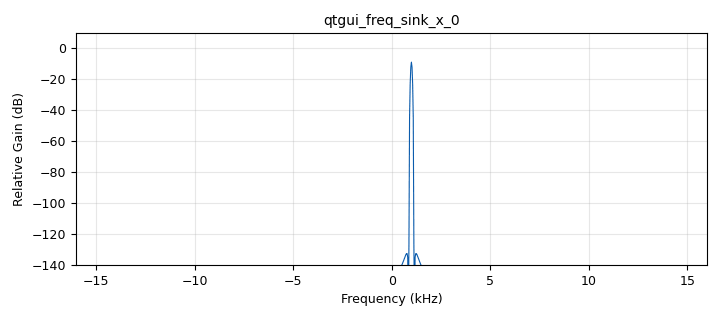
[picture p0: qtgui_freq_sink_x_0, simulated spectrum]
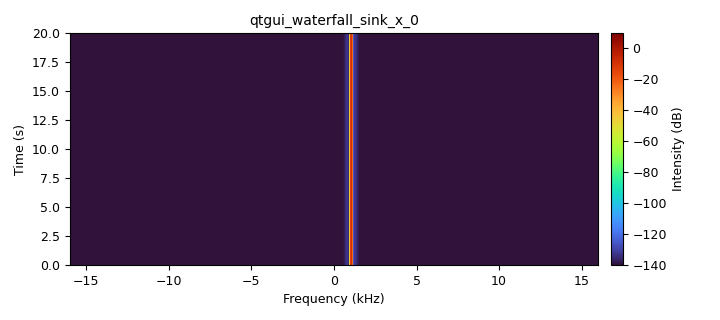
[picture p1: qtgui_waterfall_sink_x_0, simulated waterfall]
options:
  parameters:
    category: Custom
    generate_options: qt_gui
    id: test_qtgui_msg
    output_language: python
  states: {}

blocks:
- name: samp_rate
  id: variable
  parameters:
    value: '32000'
  states: {}
- name: analog_sig_source_x_0
  id: analog_sig_source_x
  parameters:
    amp: '1'
    freq: '1000'
    offset: '0'
    phase: '0'
    samp_rate: samp_rate
    type: complex
    waveform: analog.GR_COS_WAVE
  states: {}
- name: blocks_message_debug_0
  id: blocks_message_debug
  parameters: {}
  states: {}
- name: qtgui_edit_box_msg_0
  id: qtgui_edit_box_msg
  parameters:
    gui_hint: 0,0,1,1
    key: freq
    label: Frequency
    type: float
  states: {}
- name: qtgui_edit_box_msg_0_0
  id: qtgui_edit_box_msg
  parameters:
    gui_hint: 3,1,1,1
    is_pair: 'False'
    is_static: 'False'
    key: vec
    type: int_vec
    value: '3'
  states: {state: disabled}
- name: qtgui_edit_box_msg_0_0_0
  id: qtgui_edit_box_msg
  parameters:
    gui_hint: 3,0,1,1
    is_pair: 'False'
    is_static: 'False'
    key: vec
    label: '"To Message Debug"'
    type: int_vec
    value: '5'
  states: {state: disabled}
- name: qtgui_freq_sink_x_0
  id: qtgui_freq_sink_x
  parameters:
    bw: samp_rate
    fc: '0'
    fftsize: '1024'
    gui_hint: 1,0,1,2
    legend: 'False'
    type: complex
    wintype: firdes.WIN_BLACKMAN_hARRIS
  states: {}
- name: qtgui_waterfall_sink_x_0
  id: qtgui_waterfall_sink_x
  parameters:
    bw: samp_rate
    fc: '0'
    fftsize: '1024'
    gui_hint: 2,0,1,2
    type: complex
    wintype: firdes.WIN_BLACKMAN_hARRIS
  states: {}

connections:
- [analog_sig_source_x_0, '0', qtgui_freq_sink_x_0, '0']
- [analog_sig_source_x_0, '0', qtgui_waterfall_sink_x_0, '0']
- [qtgui_edit_box_msg_0, msg, analog_sig_source_x_0, freq]
- [qtgui_edit_box_msg_0, msg, qtgui_freq_sink_x_0, freq]
- [qtgui_edit_box_msg_0, msg, qtgui_waterfall_sink_x_0, freq]
- [qtgui_edit_box_msg_0_0, msg, qtgui_edit_box_msg_0_0_0, val]
- [qtgui_edit_box_msg_0_0_0, msg, blocks_message_debug_0, print]
- [qtgui_edit_box_msg_0_0_0, msg, qtgui_edit_box_msg_0_0, val]
- [qtgui_freq_sink_x_0, freq, qtgui_edit_box_msg_0, val]
- [qtgui_waterfall_sink_x_0, freq, qtgui_edit_box_msg_0, val]

metadata:
  file_format: 1
